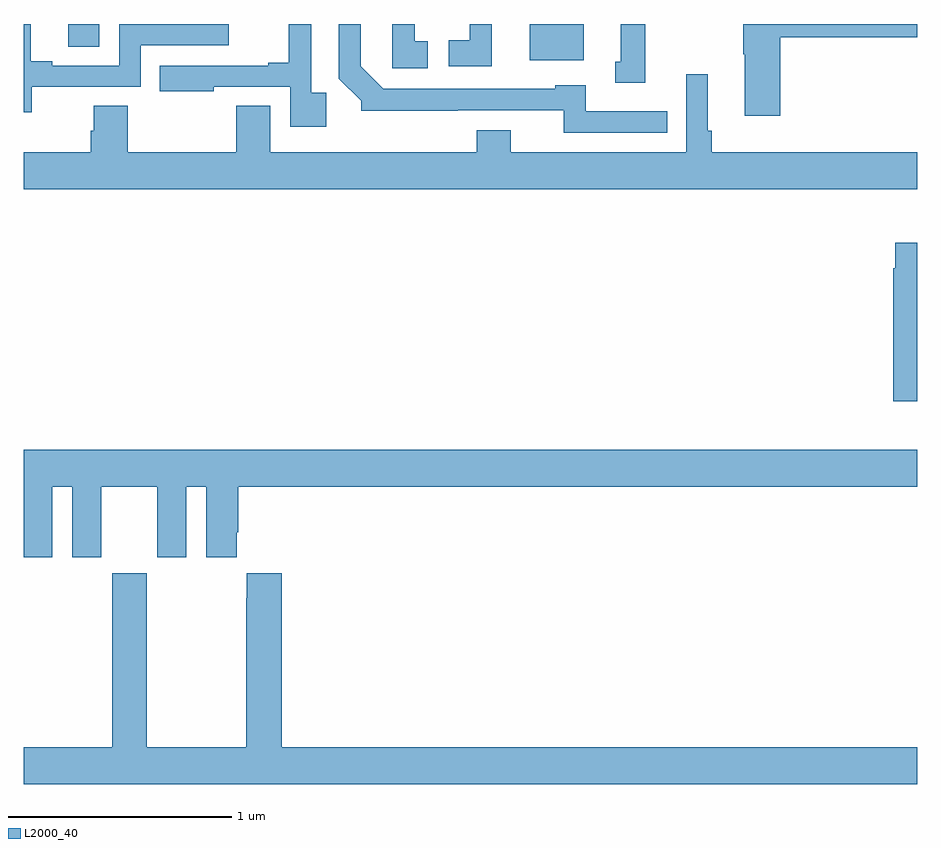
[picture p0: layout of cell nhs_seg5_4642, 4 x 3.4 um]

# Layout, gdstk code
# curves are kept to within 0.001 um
import gdstk
lib = gdstk.Library(unit=1e-6, precision=1e-09)
def R(c, l, rs):  # rectangles x0, y0, x1, y1
    for r in rs: c.add(gdstk.rectangle(r[:2], r[2:], *l))
def P(c, l, *ps):  # polygons
    for p in ps: c.add(gdstk.Polygon(p, *l))
L2000_40 = (2000, 40)

nhs_seg5_4642 = lib.new_cell('nhs_seg5_4642')
R(nhs_seg5_4642, L2000_40, [(385.265,890.636,385.507,890.799), (383.198,890.698,383.338,890.799)])
P(nhs_seg5_4642, L2000_40, [(385.88,890.409),(385.516,890.409),(385.516,890.524),(385.38,890.524),(385.38,890.508),(384.609,890.508),(384.508,890.609),(384.508,890.799),(384.411,890.799),(384.411,890.554),(384.51,890.455),(384.51,890.411),(385.417,890.412),(385.417,890.313),(385.88,890.313)],
  [(384.808,890.721),(384.75,890.721),(384.75,890.799),(384.65,890.799),(384.65,890.601),(384.808,890.601)],
  [(383.036,890.517),(383.523,890.517),(383.523,890.703),(383.918,890.703),(383.918,890.799),(383.427,890.799),(383.427,890.613),(383.128,890.613),(383.128,890.633),(383.032,890.633),(383.032,890.799),(383,890.799),(383,890.403),(383.036,890.403)],
  [(386.387,890.74),(387,890.74),(387,890.799),(386.221,890.799),(386.221,890.663),(386.228,890.663),(386.228,890.388),(386.387,890.388)],
  [(385.096,890.799),(384.997,890.799),(384.997,890.726),(384.903,890.726),(384.903,890.61),(385.096,890.61)],
  [(385.783,890.799),(385.673,890.799),(385.673,890.631),(385.649,890.631),(385.649,890.537),(385.783,890.537)],
  [(384.353,890.491),(384.288,890.491),(384.288,890.799),(384.187,890.799),(384.187,890.626),(384.095,890.626),(384.095,890.613),(383.608,890.613),(383.608,890.498),(383.851,890.498),(383.851,890.517),(384.192,890.517),(384.192,890.34),(384.353,890.34)],
  [(387,890.224),(386.081,890.224),(386.081,890.32),(386.062,890.32),(386.062,890.575),(385.965,890.575),(385.965,890.224),(385.18,890.224),(385.18,890.323),(385.028,890.323),(385.028,890.224),(384.103,890.224),(384.103,890.432),(383.951,890.432),(383.951,890.224),(383.465,890.224),(383.465,890.432),(383.312,890.432),(383.312,890.322),(383.3,890.322),(383.3,890.224),(383,890.224),(383,890.06),(387,890.06)],
  [(387,889.819),(386.901,889.819),(386.901,889.706),(386.893,889.706),(386.893,889.109),(387,889.109)],
  [(383.128,888.728),(383.216,888.728),(383.216,888.411),(383.347,888.411),(383.347,888.728),(383.597,888.728),(383.597,888.411),(383.728,888.411),(383.728,888.728),(383.816,888.728),(383.816,888.411),(383.953,888.411),(383.953,888.523),(383.96,888.523),(383.96,888.728),(387,888.728),(387,888.892),(383,888.892),(383,888.411),(383.128,888.411)],
  [(387,887.56),(384.155,887.56),(384.155,888.34),(383.999,888.34),(383.999,888.227),(383.995,888.227),(383.995,887.56),(383.55,887.56),(383.55,888.34),(383.395,888.34),(383.395,887.56),(383,887.56),(383,887.396),(387,887.396)])

lib.write_gds('nhs_seg5_4642.gds')
